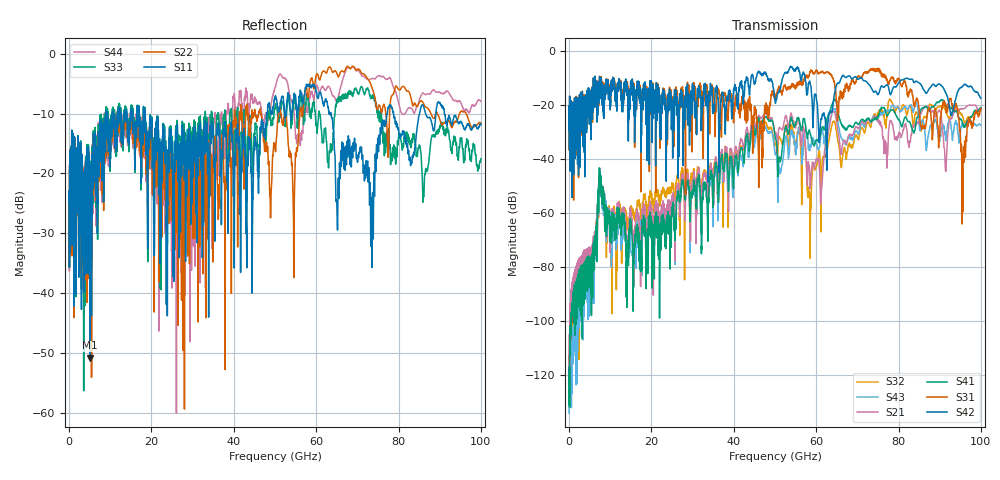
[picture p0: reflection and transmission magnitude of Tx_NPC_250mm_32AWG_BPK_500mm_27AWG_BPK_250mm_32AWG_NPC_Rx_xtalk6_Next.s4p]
! Info: Touchstone file created by Circ.  Input file=Tx_NPC_250mm_32AWG_BPK_500mm_27AWG_BPK_250mm_32AWG_NPC_Rx.circ
# Hz S RI R 50
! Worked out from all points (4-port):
!   10000 points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, 10 MHz to 100 GHz, reference 50 ohm
!   strongest paths, dB at 10 MHz, 25.01 GHz, 50.01 GHz, 75.01 GHz, 100 GHz:
!     S42: -29.4, -18.4, -18.5, -16.2, -17.6
!     S31: -29.4, -17.9, -16.9, -6.9, -21.5
!     S41: -119.0, -57.8, -31.8, -24.3, -21.2
!     S21: -120.0, -53.7, -30.6, -25.5, -22.4
!     S43: -134.0, -54.7, -38.1, -25.2, -27.7
!     S32: -121.6, -49.1, -34.6, -23.2, -21.0
!   lowest |S11| = -50.8 dB at 5.03 GHz (marker M1), VSWR 1.01, Z = 50.3 + j0.115 ohm
!   |S11| at or under -10 dB: start of sweep to 8.988 GHz; 18.48 GHz to 47.96 GHz (29.48 GHz wide, 88.7 % of centre); 63.63 GHz to 77.28 GHz (13.65 GHz wide, 19.4 % of centre) (the widest 3 of 38)
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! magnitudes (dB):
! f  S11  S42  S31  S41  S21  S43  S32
! 10 MHz  -24.7  -29.4  -29.4  -119.0  -120.0  -134.0  -121.6
! 5.03 GHz  -50.8  -19.7  -19.0  -76.7  -73.6  -78.1  -77.8
! 7.68 GHz  -15.8  -12.6  -11.8  -46.6  -46.9  -46.4  -46.3
! 17.18 GHz  -14.2  -16.4  -15.4  -70.8  -66.2  -64.5  -57.5
! 47.57 GHz  -13.4  -8.1  -21.5  -24.6  -23.2  -27.8  -26.2
! 58.33 GHz  -5.2  -11.4  -9.1  -29.3  -42.8  -36.4  -53.0
! 100 GHz  -11.7  -17.6  -21.5  -21.2  -22.4  -27.7  -21.0
